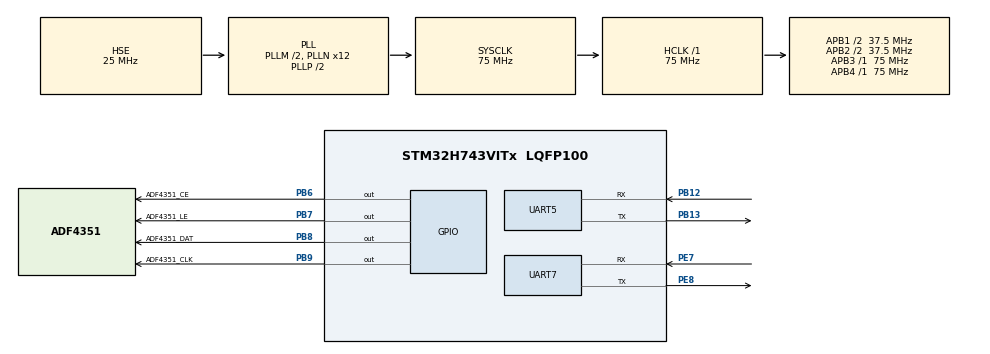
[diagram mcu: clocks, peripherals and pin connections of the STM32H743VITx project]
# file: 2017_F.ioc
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CORTEX_M7.Enable_Spec=__NULL
Mcu.Family=STM32H7
Mcu.Name=STM32H743VITx
Mcu.Package=LQFP100
NVIC.PriorityGroup=NVIC_PRIORITYGROUP_4
NVIC.UART5_IRQn=true\:0\:0\:false\:false\:true\:true\:true\:true
NVIC.UART7_IRQn=true\:0\:0\:false\:false\:true\:true\:true\:true
PA13\ (JTMS/SWDIO).Mode=Serial_Wire
PA13\ (JTMS/SWDIO).Signal=DEBUG_JTMS-SWDIO
PA14\ (JTCK/SWCLK).Mode=Serial_Wire
PA14\ (JTCK/SWCLK).Signal=DEBUG_JTCK-SWCLK
PB12.Mode=Asynchronous
PB12.Signal=UART5_RX
PB13.Mode=Asynchronous
PB13.Signal=UART5_TX
PB6.GPIO_Label=ADF4351_CE
PB6.GPIO_PuPd=GPIO_PULLUP
PB6.GPIO_Speed=GPIO_SPEED_FREQ_VERY_HIGH
PB6.PinState=GPIO_PIN_SET
PB6.Signal=GPIO_Output
PB7.GPIO_Label=ADF4351_LE
PB7.GPIO_PuPd=GPIO_NOPULL
PB7.GPIO_Speed=GPIO_SPEED_FREQ_VERY_HIGH
PB7.PinState=GPIO_PIN_SET
PB7.Signal=GPIO_Output
PB8.GPIO_Label=ADF4351_DAT
PB8.GPIO_Speed=GPIO_SPEED_FREQ_HIGH
PB8.PinState=GPIO_PIN_RESET
PB8.Signal=GPIO_Output
PB9.GPIO_Label=ADF4351_CLK
PB9.GPIO_Speed=GPIO_SPEED_FREQ_VERY_HIGH
PB9.Signal=GPIO_Output
PE7.Mode=Asynchronous
PE7.Signal=UART7_RX
PE8.Mode=Asynchronous
PE8.Signal=UART7_TX
PH0-OSC_IN\ (PH0).Mode=HSE-External-Oscillator
PH0-OSC_IN\ (PH0).Signal=RCC_OSC_IN
PH1-OSC_OUT\ (PH1).Mode=HSE-External-Oscillator
PH1-OSC_OUT\ (PH1).Signal=RCC_OSC_OUT
ProjectManager.HeapSize=0x200
ProjectManager.StackSize=0x400
ProjectManager.TargetToolchain=MDK-ARM V5.32
RCC.ADCFreq_Value=50390625
RCC.APB1Freq_Value=37500000
RCC.APB2Freq_Value=37500000
RCC.APB3Freq_Value=75000000
RCC.APB4Freq_Value=75000000
RCC.CortexFreq_Value=75000000
RCC.D2PPRE1=RCC_APB1_DIV2
RCC.D2PPRE2=RCC_APB2_DIV2
RCC.DIVM1=2
RCC.DIVN1=12
RCC.HCLKFreq_Value=75000000
RCC.PLLFRACN=0
RCC.PLLSourceVirtual=RCC_PLLSOURCE_HSE
RCC.SYSCLKFreq_VALUE=75000000
RCC.SYSCLKSource=RCC_SYSCLKSOURCE_PLLCLK
RCC.USBFreq_Value=75000000
TIM7.Prescaler=75
VP_TIM7_VS_ClockSourceINT.Mode=Enable_Timer
board=custom

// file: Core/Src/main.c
/* USER CODE BEGIN Header */
/**
  ******************************************************************************
  * @file           : main.c
  * @brief          : Main program body
  ******************************************************************************
  * @attention
  *
  * Copyright (c) 2022 STMicroelectronics.
  * All rights reserved.
  *
  * This software is licensed under terms that can be found in the LICENSE file
  * in the root directory of this software component.
  * If no LICENSE file comes with this software, it is provided AS-IS.
  *
  ******************************************************************************
  */
/* USER CODE END Header */
#include "main.h"
#include "tim.h"
#include "usart.h"
#include "gpio.h"

/* USER CODE BEGIN PTD */
float Fre_current = 275;
int Chande_flag = 0;
/* USER CODE END PTD */

void SystemClock_Config(void);

int main(void)
{

  /* MCU Configuration--------------------------------------------------------*/

  /* Reset of all peripherals, Initializes the Flash interface and the Systick. */
  HAL_Init();

  /* USER CODE BEGIN Init */
	char screen_message[70];
  /* USER CODE END Init */

  /* Configure the system clock */
  SystemClock_Config();

  /* Initialize all configured peripherals */
  MX_GPIO_Init();
  MX_TIM7_Init();
  MX_UART5_Init();
  MX_UART7_Init();
  /* USER CODE BEGIN 2 */
	sprintf(screen_message,"x0.val=%d\xff\xff\xff",(int)0);
	for(int mino = 0;mino<5; mino++)
		USART1PutString(screen_message);
	ADF4351Init();
//	for(int mino = 0;mino<5; mino++)
	ADF4351WriteFreq((Fre_current + 10.7));	//设置固定输出频率为400MHZ

	AD9854_Init();
	for(int mino = 0;mino<5; mino++)
		AD9854_SetSine_double( 10000000,4095);

	sprintf(screen_message,"x0.val=%d\xff\xff\xff",(int)((Fre_current + 10.7)*10));
	for(int mino = 0;mino<5; mino++)
	USART1PutString(screen_message);

  /* USER CODE END 2 */

  /* Infinite loop */
  while (1)
  {

    /* USER CODE BEGIN 3 */
		if(Chande_flag)
		{
			Chande_flag = 0;
			ADF4351Init();
			ADF4351WriteFreq((Fre_current + 10.7));
			sprintf(screen_message,"x0.val=%d\xff\xff\xff",(u16)((Fre_current + 10.7)*10));
			for(int mino = 0;mino<5; mino++)
			USART1PutString(screen_message);
			AD9854_Init();
			for(int mino = 0;mino<5; mino++)
				AD9854_SetSine_double( 10000000,4095);
			MX_UART7_Init();
		}

  }
  /* USER CODE END 3 */
}

void SystemClock_Config(void)
{
  RCC_OscInitTypeDef RCC_OscInitStruct = {0};
  RCC_ClkInitTypeDef RCC_ClkInitStruct = {0};

  /** Supply configuration update enable
  */
  HAL_PWREx_ConfigSupply(PWR_LDO_SUPPLY);

  /** Configure the main internal regulator output voltage
  */
  __HAL_PWR_VOLTAGESCALING_CONFIG(PWR_REGULATOR_VOLTAGE_SCALE3);

  while(!__HAL_PWR_GET_FLAG(PWR_FLAG_VOSRDY)) {}

  /** Initializes the RCC Oscillators according to the specified parameters
  * in the RCC_OscInitTypeDef structure.
  */
  RCC_OscInitStruct.OscillatorType = RCC_OSCILLATORTYPE_HSE;
  RCC_OscInitStruct.HSEState = RCC_HSE_ON;
  RCC_OscInitStruct.PLL.PLLState = RCC_PLL_ON;
  RCC_OscInitStruct.PLL.PLLSource = RCC_PLLSOURCE_HSE;
  RCC_OscInitStruct.PLL.PLLM = 2;
  RCC_OscInitStruct.PLL.PLLN = 12;
  RCC_OscInitStruct.PLL.PLLP = 2;
  RCC_OscInitStruct.PLL.PLLQ = 2;
  RCC_OscInitStruct.PLL.PLLR = 2;
  RCC_OscInitStruct.PLL.PLLRGE = RCC_PLL1VCIRANGE_3;
  RCC_OscInitStruct.PLL.PLLVCOSEL = RCC_PLL1VCOMEDIUM;
  RCC_OscInitStruct.PLL.PLLFRACN = 0;
  if (HAL_RCC_OscConfig(&RCC_OscInitStruct) != HAL_OK)
  {
    Error_Handler();
  }

  /** Initializes the CPU, AHB and APB buses clocks
  */
  RCC_ClkInitStruct.ClockType = RCC_CLOCKTYPE_HCLK|RCC_CLOCKTYPE_SYSCLK
                              |RCC_CLOCKTYPE_PCLK1|RCC_CLOCKTYPE_PCLK2
                              |RCC_CLOCKTYPE_D3PCLK1|RCC_CLOCKTYPE_D1PCLK1;
  RCC_ClkInitStruct.SYSCLKSource = RCC_SYSCLKSOURCE_PLLCLK;
  RCC_ClkInitStruct.SYSCLKDivider = RCC_SYSCLK_DIV1;
  RCC_ClkInitStruct.AHBCLKDivider = RCC_HCLK_DIV1;
  RCC_ClkInitStruct.APB3CLKDivider = RCC_APB3_DIV1;
  RCC_ClkInitStruct.APB1CLKDivider = RCC_APB1_DIV2;
  RCC_ClkInitStruct.APB2CLKDivider = RCC_APB2_DIV2;
  RCC_ClkInitStruct.APB4CLKDivider = RCC_APB4_DIV1;

  if (HAL_RCC_ClockConfig(&RCC_ClkInitStruct, FLASH_LATENCY_1) != HAL_OK)
  {
    Error_Handler();
  }
}

void Error_Handler(void)
{
  __disable_irq();
  while (1)
  {
  }
}
